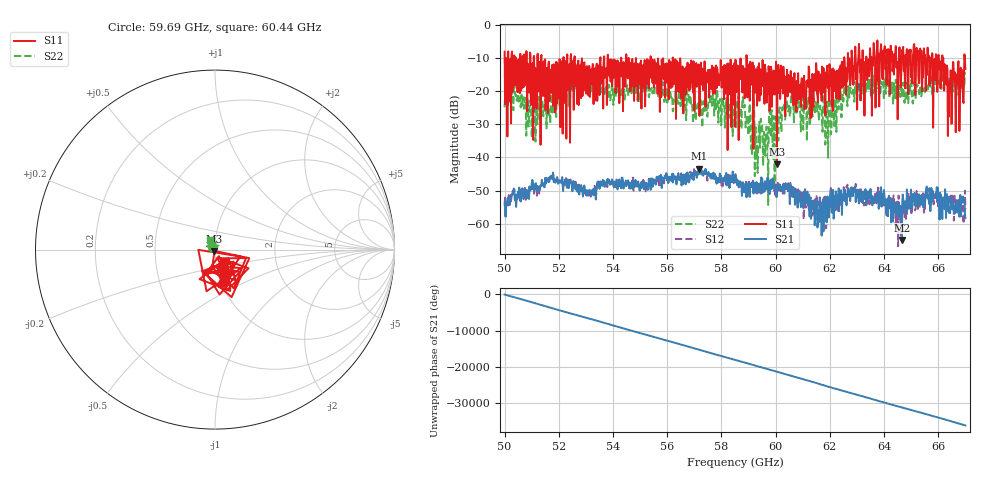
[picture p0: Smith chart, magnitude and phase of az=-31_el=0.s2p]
!Created with skrf (http://scikit-rf.org).
# GHz S RI R 50.0
!freq ReS11 ImS11 ReS21 ImS21 ReS12 ImS12 ReS22 ImS22
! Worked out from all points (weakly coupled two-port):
!   1001 points, 50 GHz to 67 GHz, reference 50 ohm
!   highest |S21| = -43.43 dB at 57.17 GHz (marker M1); lowest = -65.0 dB at 64.65 GHz (marker M2)
!   lowest |S11| = -42.1 dB at 60.05 GHz (marker M3), VSWR 1.02, Z = 49.7 - j0.719 ohm
!   |S11| at or under -10 dB: 52.59 GHz to 53.53 GHz (947 MHz wide, 1.78 % of centre); 56.48 GHz to 58.92 GHz (2.446 GHz wide, 4.24 % of centre); 58.93 GHz to 62.53 GHz (3.598 GHz wide, 5.93 % of centre) (the widest 3 of 66)
!   |S22| runs from -54.4 to -13.4 dB; largest |S21 - S12| = 0.0025
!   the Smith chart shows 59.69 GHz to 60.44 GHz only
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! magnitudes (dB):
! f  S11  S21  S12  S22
! 50 GHz  -8.0  -54.4  -53.9  -24.8
! 50.15 GHz  -23.2  -53.6  -51.4  -20.5
! 51.07 GHz  -9.6  -49.4  -49.5  -26.5
! 52.84 GHz  -11.1  -48.8  -50.4  -19.3
! 55.68 GHz  -13.7  -46.5  -46.9  -21.5
! 57.17 GHz  -14.6  -43.4  -45.2  -25.1
! 58.5 GHz  -30.7  -47.6  -46.7  -23.5
! 59.11 GHz  -12.7  -48.6  -48.8  -36.0
! 59.32 GHz  -24.3  -47.6  -50.9  -36.4
! 60.05 GHz  -42.1  -51.3  -51.4  -28.4
! 60.64 GHz  -15.8  -51.9  -48.9  -22.5
! 61.34 GHz  -27.4  -53.1  -55.2  -26.5
! 61.63 GHz  -14.8  -52.0  -58.9  -25.0
! 62 GHz  -12.9  -53.3  -53.4  -24.0
! 62.85 GHz  -12.4  -50.4  -51.6  -19.2
! 64.18 GHz  -11.9  -51.6  -52.8  -17.8
! 64.65 GHz  -7.6  -65.0  -58.2  -19.5
! 65.61 GHz  -6.8  -51.2  -52.4  -18.2
! 66.1 GHz  -15.1  -51.3  -52.5  -18.1
! 66.44 GHz  -19.0  -56.8  -52.1  -16.2
! 66.52 GHz  -17.5  -55.7  -55.7  -18.0
! 67 GHz  -13.2  -58.4  -55.7  -14.1
